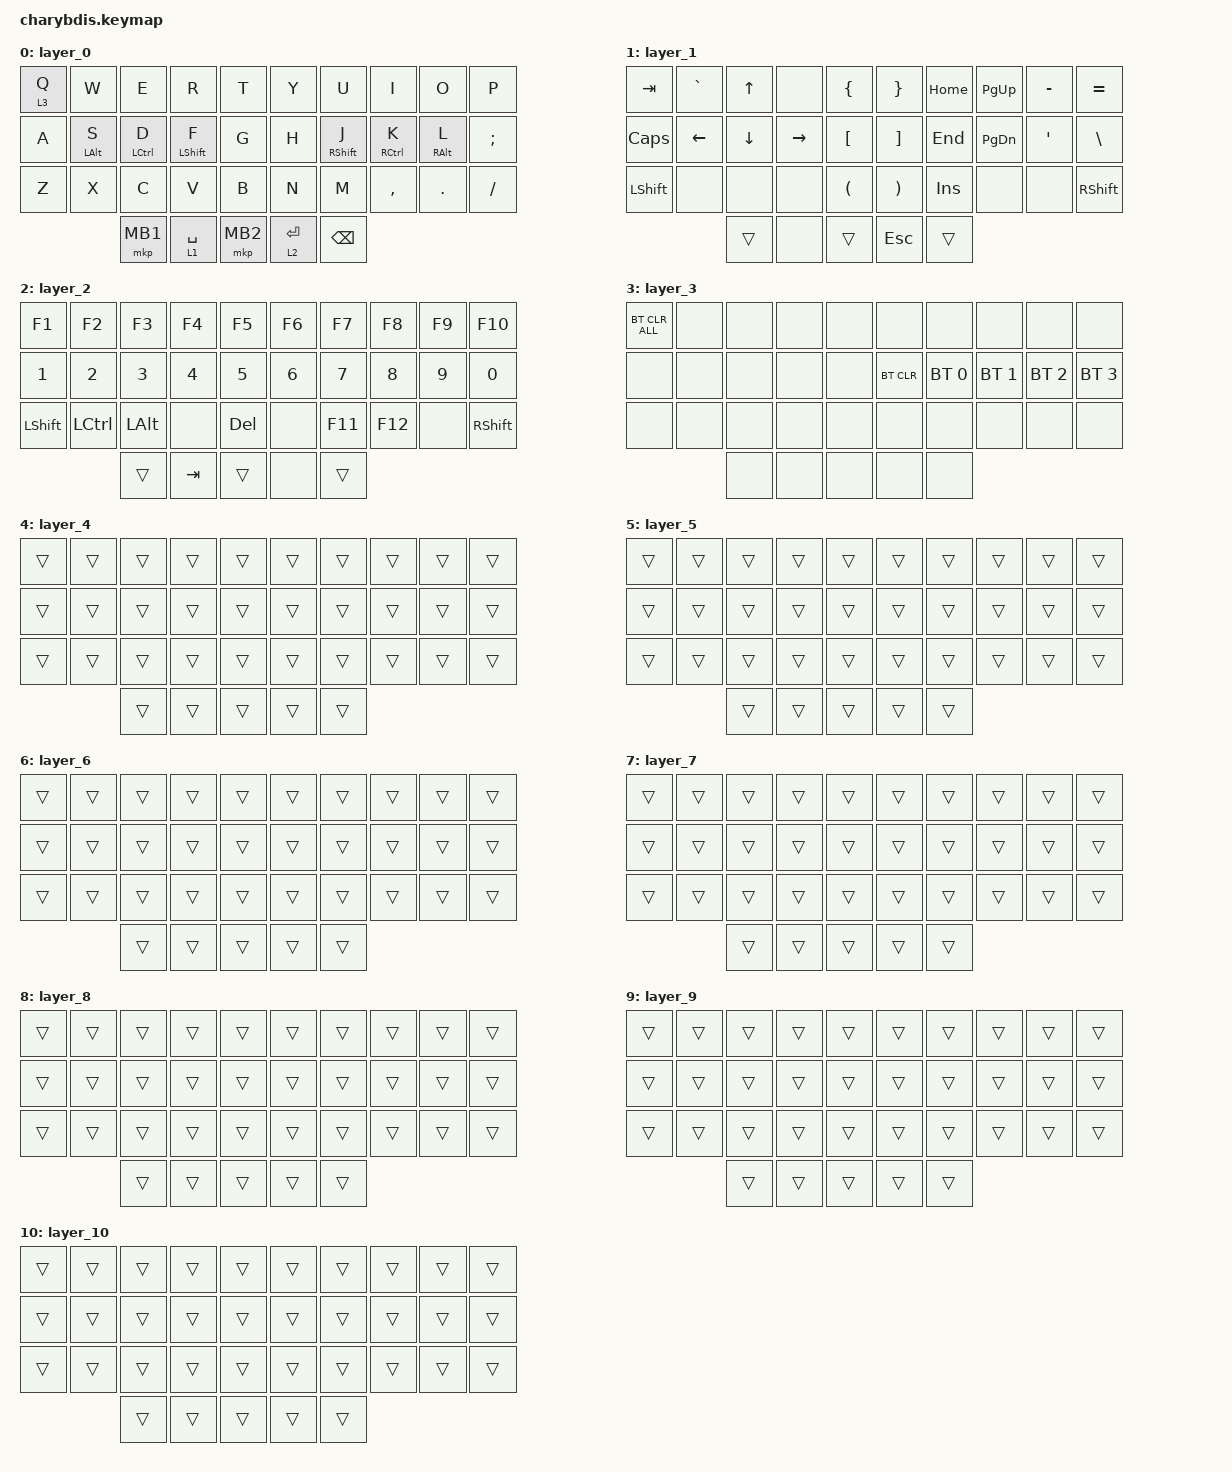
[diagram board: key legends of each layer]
#include <behaviors.dtsi>
#include <dt-bindings/zmk/bt.h>
#include <dt-bindings/zmk/keys.h>
#include <dt-bindings/zmk/pointing.h>
#include <dt-bindings/zmk/rgb.h>

&lt {
    tapping-term-ms = <200>;
    flavor = "balanced";
    quick-tap-ms = <150>;
};

/ {
    macros {
        To1_macro: To1_macro {
            compatible = "zmk,behavior-macro";
            label = "To1_macro";
            #binding-cells = <0>;
            bindings = <&rgb_ug RGB_EFF &rgb_ug RGB_COLOR_HSB(128,100,50) &to 3>;
        };

        To0_macro: To0_macro {
            compatible = "zmk,behavior-macro";
            label = "To0_macro";
            #binding-cells = <0>;
            bindings = <&rgb_ug RGB_EFR &to 0>;
        };

        To2_macro: To2_macro {
            compatible = "zmk,behavior-macro";
            label = "To2_macro";
            #binding-cells = <0>;
            bindings =
                <&to 0>,
                <&macro_wait_time 30>,
                <&rgb_ug RGB_COLOR_HSB(250,100,50)>;
        };
    };

    keymap {
        compatible = "zmk,keymap";

        layer_0 {
            bindings = <
&lt 3 Q  &kp W       &kp E               &kp R         &kp T       &kp Y        &kp U          &kp I                &kp O       &kp P
&kp A    &mt LALT S  &mt LEFT_CONTROL D  &mt LSHIFT F  &kp G       &kp H        &mt RSHIFT J   &mt RIGHT_CONTROL K  &mt RALT L  &kp SEMI
&kp Z    &kp X       &kp C               &kp V         &kp B       &kp N        &kp M          &kp COMMA            &kp DOT     &kp FSLH
                     &mkp MB1            &lt 1 SPACE   &mkp MB2    &lt 2 ENTER  &kp BACKSPACE
            >;
        };

        layer_1 {
            bindings = <
&kp TAB       &kp GRAVE  &kp UP    &none      &kp LEFT_BRACE          &kp RIGHT_BRACE        &kp HOME    &kp PG_UP  &kp MINUS         &kp EQUAL
&kp CAPSLOCK  &kp LEFT   &kp DOWN  &kp RIGHT  &kp LEFT_BRACKET        &kp RIGHT_BRACKET      &kp END     &kp PG_DN  &kp SINGLE_QUOTE  &kp BACKSLASH
&kp LSHIFT    &none      &none     &none      &kp LEFT_PARENTHESIS    &kp RIGHT_PARENTHESIS  &kp INSERT  &none      &none             &kp RSHIFT
                         &trans    &none      &trans                  &kp ESCAPE             &trans
            >;
        };

        layer_2 {
            bindings = <
&kp F1          &kp F2            &kp F3        &kp F4   &kp F5        &kp F6  &kp F7   &kp F8   &kp F9  &kp F10
&kp N1          &kp N2            &kp N3        &kp N4   &kp N5        &kp N6  &kp N7   &kp N8   &kp N9  &kp N0
&kp LEFT_SHIFT  &kp LEFT_CONTROL  &kp LEFT_ALT  &none    &kp DELETE    &none   &kp F11  &kp F12  &none   &kp RIGHT_SHIFT
                                  &trans        &kp TAB  &trans        &none   &trans
            >;
        };

        layer_3 {
            bindings = <
&bt BT_CLR_ALL  &none  &none  &none  &none    &none       &none         &none         &none         &none
&none           &none  &none  &none  &none    &bt BT_CLR  &bt BT_SEL 0  &bt BT_SEL 1  &bt BT_SEL 2  &bt BT_SEL 3
&none           &none  &none  &none  &none    &none       &none         &none         &none         &none
                       &none  &none  &none    &none       &none
            >;
        };

        layer_4 {
            bindings = <
&trans  &trans  &trans  &trans  &trans    &trans  &trans  &trans  &trans  &trans
&trans  &trans  &trans  &trans  &trans    &trans  &trans  &trans  &trans  &trans
&trans  &trans  &trans  &trans  &trans    &trans  &trans  &trans  &trans  &trans
                &trans  &trans  &trans    &trans  &trans
            >;
        };

        layer_5 {
            bindings = <
&trans  &trans  &trans  &trans  &trans    &trans  &trans  &trans  &trans  &trans
&trans  &trans  &trans  &trans  &trans    &trans  &trans  &trans  &trans  &trans
&trans  &trans  &trans  &trans  &trans    &trans  &trans  &trans  &trans  &trans
                &trans  &trans  &trans    &trans  &trans
            >;
        };

        layer_6 {
            bindings = <
&trans  &trans  &trans  &trans  &trans    &trans  &trans  &trans  &trans  &trans
&trans  &trans  &trans  &trans  &trans    &trans  &trans  &trans  &trans  &trans
&trans  &trans  &trans  &trans  &trans    &trans  &trans  &trans  &trans  &trans
                &trans  &trans  &trans    &trans  &trans
            >;
        };

        layer_7 {
            bindings = <
&trans  &trans  &trans  &trans  &trans    &trans  &trans  &trans  &trans  &trans
&trans  &trans  &trans  &trans  &trans    &trans  &trans  &trans  &trans  &trans
&trans  &trans  &trans  &trans  &trans    &trans  &trans  &trans  &trans  &trans
                &trans  &trans  &trans    &trans  &trans
            >;
        };

        layer_8 {
            bindings = <
&trans  &trans  &trans  &trans  &trans    &trans  &trans  &trans  &trans  &trans
&trans  &trans  &trans  &trans  &trans    &trans  &trans  &trans  &trans  &trans
&trans  &trans  &trans  &trans  &trans    &trans  &trans  &trans  &trans  &trans
                &trans  &trans  &trans    &trans  &trans
            >;
        };

        layer_9 {
            bindings = <
&trans  &trans  &trans  &trans  &trans    &trans  &trans  &trans  &trans  &trans
&trans  &trans  &trans  &trans  &trans    &trans  &trans  &trans  &trans  &trans
&trans  &trans  &trans  &trans  &trans    &trans  &trans  &trans  &trans  &trans
                &trans  &trans  &trans    &trans  &trans
            >;
        };

        layer_10 {
            bindings = <
&trans  &trans  &trans  &trans  &trans    &trans  &trans  &trans  &trans  &trans
&trans  &trans  &trans  &trans  &trans    &trans  &trans  &trans  &trans  &trans
&trans  &trans  &trans  &trans  &trans    &trans  &trans  &trans  &trans  &trans
                &trans  &trans  &trans    &trans  &trans
            >;
        };

        /* layer_2 {
            bindings = <
&none  &none   &none    &none   &none         &none         &kp N1         &none         &none     &none  &none   &to 0
&none  &none   &none    &none   &none         &none         &none         &none          &rgb_ug RGB_BRD &rgb_ug RGB_BRI  &rgb_ug RGB_EFF   &rgb_ug RGB_TOG
&none  &none   &none    &none   &none         &none         &none         &mkp LCLK     &mkp RCLK  &none  &none   &none
&none  &none   &none    &none   &bt BT_NXT  &bt BT_CLR    &none         &none         &none     &none  &none   &none
                                   &none         &none         &none         &none         &none
                                                 &none         &none         &none
            >;
       
            
        };

       Mouse {
            bindings = <
&none        &none         &none         &none         &none      &none         &none       &none      &none         &none         &none         &none
&none        &bt BT_SEL 0  &bt BT_SEL 1  &bt BT_SEL 3  &none      &bt BT_CLR    &bt BT_CLR  &none      &bt BT_SEL 2  &bt BT_SEL 1  &bt BT_SEL 0  &none
&none        &trans        &trans        &mkp MCLK     &trans     &none         &none       &trans     &mkp MCLK     &trans        &trans        &none
&bootloader  &trans        &mkp RCLK     &mo 4         &mkp LCLK  &mo 5         &mo 5       &mkp LCLK  &mo 4         &mkp RCLK     &trans        &bootloader
                                         &mo 5         &mkp LCLK  &mkp RCLK     &mkp RCLK   &mkp LCLK
                                                       &none      &trans        &trans
            >;

            
        };

        layer_4 {
            bindings = <
&trans  &trans  &trans     &trans     &trans     &trans       &trans     &trans     &trans     &trans     &trans  &trans
&trans  &trans  &trans     &trans     &trans     &trans       &trans     &trans     &trans     &trans     &trans  &trans
&trans  &trans  &trans     &mkp MCLK  &trans     &trans       &trans     &trans     &mkp MCLK  &trans     &trans  &trans
&trans  &trans  &mkp RCLK  &trans     &mkp LCLK  &trans       &trans     &mkp LCLK  &trans     &mkp RCLK  &trans  &trans
                           &trans     &mkp LCLK  &mkp RCLK    &mkp RCLK  &mkp LCLK
                                      &trans     &trans       &trans
            >;
                
                
               
        };

        layer_5 {
            bindings = <
&trans  &trans  &trans     &trans     &trans     &trans       &trans     &trans     &trans     &trans     &trans  &trans
&trans  &trans  &trans     &trans     &trans     &trans       &trans     &trans     &trans     &trans     &trans  &trans
&trans  &trans  &trans     &mkp MCLK  &trans     &trans       &trans     &trans     &mkp MCLK  &trans     &trans  &trans
&trans  &trans  &mkp RCLK  &trans     &mkp LCLK  &trans       &trans     &mkp LCLK  &trans     &mkp RCLK  &trans  &trans
                           &trans     &mkp LCLK  &mkp RCLK    &mkp RCLK  &mkp LCLK
                                      &trans     &trans       &trans
            >;
                
                
        };*/
    };
};
